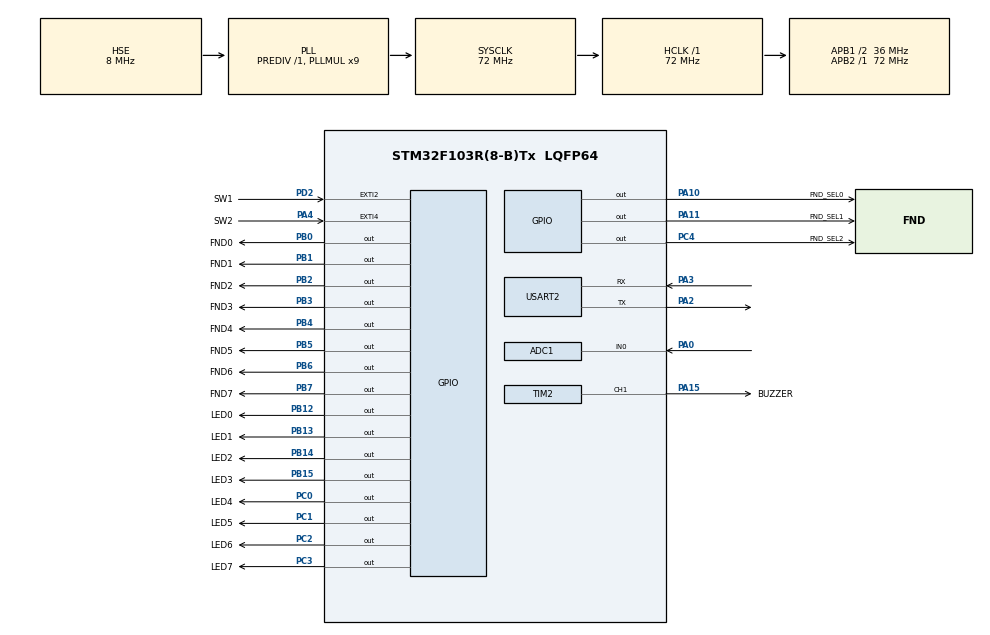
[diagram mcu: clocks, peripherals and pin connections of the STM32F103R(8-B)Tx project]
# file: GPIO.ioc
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ADC1.Channel-0\#ChannelRegularConversion=ADC_CHANNEL_0
ADC1.NbrOfConversionFlag=1
ADC1.Rank-0\#ChannelRegularConversion=1
ADC1.SamplingTime-0\#ChannelRegularConversion=ADC_SAMPLETIME_13CYCLES_5
ADC1.master=1
Mcu.Family=STM32F1
Mcu.Name=STM32F103R(8-B)Tx
Mcu.Package=LQFP64
NVIC.EXTI4_IRQn=true\:0\:0\:false\:false\:true\:true\:true\:true
NVIC.PriorityGroup=NVIC_PRIORITYGROUP_4
NVIC.TIM2_IRQn=true\:0\:0\:false\:false\:true\:true\:true\:true
NVIC.USART2_IRQn=true\:0\:0\:false\:false\:true\:true\:true\:true
PA0-WKUP.Signal=ADCx_IN0
PA10.GPIO_Label=FND_SEL0
PA10.Signal=GPIO_Output
PA11.GPIO_Label=FND_SEL1
PA11.Signal=GPIO_Output
PA15.GPIO_Label=BUZZER
PA15.Signal=S_TIM2_CH1_ETR
PA2.Mode=Asynchronous
PA2.Signal=USART2_TX
PA3.Mode=Asynchronous
PA3.Signal=USART2_RX
PA4.GPIO_Label=SW2
PA4.GPIO_ModeDefaultEXTI=GPIO_MODE_IT_FALLING
PA4.Signal=GPXTI4
PB0.GPIO_Label=FND0
PB0.Signal=GPIO_Output
PB1.GPIO_Label=FND1
PB1.Signal=GPIO_Output
PB12.GPIO_Label=LED0
PB12.Signal=GPIO_Output
PB13.GPIO_Label=LED1
PB13.Signal=GPIO_Output
PB14.GPIO_Label=LED2
PB14.Signal=GPIO_Output
PB15.GPIO_Label=LED3
PB15.Signal=GPIO_Output
PB2.GPIO_Label=FND2
PB2.Signal=GPIO_Output
PB3.GPIO_Label=FND3
PB3.Signal=GPIO_Output
PB4.GPIO_Label=FND4
PB4.Signal=GPIO_Output
PB5.GPIO_Label=FND5
PB5.Signal=GPIO_Output
PB6.GPIO_Label=FND6
PB6.Signal=GPIO_Output
PB7.GPIO_Label=FND7
PB7.Signal=GPIO_Output
PC0.GPIO_Label=LED4
PC0.Signal=GPIO_Output
PC1.GPIO_Label=LED5
PC1.Signal=GPIO_Output
PC14-OSC32_IN.Mode=LSE-External-Oscillator
PC14-OSC32_IN.Signal=RCC_OSC32_IN
PC15-OSC32_OUT.Mode=LSE-External-Oscillator
PC15-OSC32_OUT.Signal=RCC_OSC32_OUT
PC2.GPIO_Label=LED6
PC2.Signal=GPIO_Output
PC3.GPIO_Label=LED7
PC3.Signal=GPIO_Output
PC4.GPIO_Label=FND_SEL2
PC4.Signal=GPIO_Output
PD0-OSC_IN.Mode=HSE-External-Clock-Source
PD0-OSC_IN.Signal=RCC_OSC_IN
PD1-OSC_OUT.Mode=HSE-External-Clock-Source
PD1-OSC_OUT.Signal=RCC_OSC_OUT
PD2.GPIO_Label=SW1
PD2.Signal=GPXTI2
ProjectManager.HeapSize=0x200
ProjectManager.StackSize=0x400
ProjectManager.TargetToolchain=STM32CubeIDE
RCC.ADCPresc=RCC_ADCPCLK2_DIV6
RCC.AHBFreq_Value=72000000
RCC.APB1CLKDivider=RCC_HCLK_DIV2
RCC.APB1Freq_Value=36000000
RCC.APB1TimFreq_Value=72000000
RCC.APB2Freq_Value=72000000
RCC.APB2TimFreq_Value=72000000
RCC.HCLKFreq_Value=72000000
RCC.PLLMUL=RCC_PLL_MUL9
RCC.PLLSourceVirtual=RCC_PLLSOURCE_HSE
RCC.SYSCLKFreq_VALUE=72000000
RCC.SYSCLKSource=RCC_SYSCLKSOURCE_PLLCLK
RCC.USBFreq_Value=72000000
SH.ADCx_IN0.0=ADC1_IN0,IN0
SH.S_TIM2_CH1_ETR.0=TIM2_CH1,PWM Generation1 CH1
TIM2.AutoReloadPreload=TIM_AUTORELOAD_PRELOAD_ENABLE
TIM2.Channel-PWM\ Generation1\ CH1=TIM_CHANNEL_1
TIM2.Period=999
TIM2.Prescaler=71
TIM2.Pulse-PWM\ Generation1\ CH1=500
USART2.VirtualMode=VM_ASYNC
VP_TIM2_VS_ClockSourceINT.Mode=Internal
board=custom

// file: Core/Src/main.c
/* USER CODE BEGIN Header */
/**
 ******************************************************************************
 * @file           : main.c
 * @brief          : Main program body
 ******************************************************************************
 * @attention
 *
 * Copyright (c) 2023 STMicroelectronics.
 * All rights reserved.
 *
 * This software is licensed under terms that can be found in the LICENSE file
 * in the root directory of this software component.
 * If no LICENSE file comes with this software, it is provided AS-IS.
 *
 ******************************************************************************
 */
/* USER CODE END Header */
#include "main.h"

/* USER CODE BEGIN PD */
//#define LED_OFF 0
//#define LED_ON 	1

#define FLAG_TRUE 	0xA5
#define FLAG_FALSE 	0x00
//#define CDS_POINT 	2000

#define FND_SEL3_GPIO_Port 	LED7_GPIO_Port
#define FND_SEL3_Pin		LED7_Pin
/* USER CODE END PD */

ADC_HandleTypeDef hadc1;

TIM_HandleTypeDef htim2;

UART_HandleTypeDef huart2;

/* USER CODE BEGIN PV */
//int led_state = LED_OFF;
//uint8_t TxBuffer[1];
//uint8_t RxBuffer[1];
//uint8_t TxBuffer[] = "Hello world\n";
uint8_t Flag_CNT;
//uint8_t Flag_10ms;
uint32_t count;

uint8_t num[10] = {0x3F, 0x06, 0x5B, 0x4F, 0x66, 0x6D, 0x7D, 0x27, 0x7F, 0x6F};

uint32_t curTick, preTick;
/* USER CODE END PV */

void SystemClock_Config(void);
static void MX_GPIO_Init(void);
static void MX_USART2_UART_Init(void);
static void MX_TIM2_Init(void);
static void MX_ADC1_Init(void);
/* USER CODE BEGIN PFP */
void LCD_Display(int index, int number);
//void LCD_Clear (void);
/* USER CODE END PFP */

int main(void)
{

  /* MCU Configuration--------------------------------------------------------*/

  /* Reset of all peripherals, Initializes the Flash interface and the Systick. */
  HAL_Init();

  /* Configure the system clock */
  SystemClock_Config();

  /* Initialize all configured peripherals */
  MX_GPIO_Init();
  MX_USART2_UART_Init();
  MX_TIM2_Init();
  MX_ADC1_Init();
  /* USER CODE BEGIN 2 */
//  HAL_UART_Receive_IT(&huart2, RxBuffer, 1);
  HAL_TIM_Base_Start_IT(&htim2);
  HAL_ADCEx_Calibration_Start(&hadc1);
  /* USER CODE END 2 */

  /* Infinite loop */
	while (1) {

		HAL_TIM_PWM_Start(&htim2, TIM_CHANNEL_1);
		while(HAL_GetTick()<preTick +5000);

		HAL_TIM_PWM_Stop(&htim2, TIM_CHANNEL_1);
		while(1);

    /* USER CODE BEGIN 3 */
//		if(Flag_CNT == FLAG_TRUE)
//		{
//			Flag_CNT = FLAG_FALSE;
//			count++;
//
//			switch(count)
//			{
//				case 1:
//					LCD_Display(3, 1);
//					break;
//				case 2:
//					LCD_Display(2, 9);
//					break;
//				case 3:
//					LCD_Display(1, 4);
//					break;
//				case 4:
//					LCD_Display(0, 7);
//					break;
//			}
//
//			if(count == 4)
//			{
////				Flag_10ms = FLAG_TRUE;
//				count = 0;
//			}
//		}

//		if(Flag_10ms == FLAG_TRUE)
//		{
//			Flag_10ms = FLAG_FALSE;
//		}

//		curTick = HAL_GetTick();
//		if(((curTick-preTick)>=1000)&&((curTick-preTick)<2000))
//		{
//			HAL_GPIO_WritePin(LED0_GPIO_Port, LED0_Pin, SET);
//		}
//		else if((curTick-preTick)>=2000)
//		{
//			preTick = curTick;
//			HAL_GPIO_WritePin(LED0_GPIO_Port, LED0_Pin, RESET);
//		}

	}
  /* USER CODE END 3 */
}

void SystemClock_Config(void)
{
  RCC_OscInitTypeDef RCC_OscInitStruct = {0};
  RCC_ClkInitTypeDef RCC_ClkInitStruct = {0};
  RCC_PeriphCLKInitTypeDef PeriphClkInit = {0};

  /** Initializes the RCC Oscillators according to the specified parameters
  * in the RCC_OscInitTypeDef structure.
  */
  RCC_OscInitStruct.OscillatorType = RCC_OSCILLATORTYPE_HSE;
  RCC_OscInitStruct.HSEState = RCC_HSE_BYPASS;
  RCC_OscInitStruct.HSEPredivValue = RCC_HSE_PREDIV_DIV1;
  RCC_OscInitStruct.HSIState = RCC_HSI_ON;
  RCC_OscInitStruct.PLL.PLLState = RCC_PLL_ON;
  RCC_OscInitStruct.PLL.PLLSource = RCC_PLLSOURCE_HSE;
  RCC_OscInitStruct.PLL.PLLMUL = RCC_PLL_MUL9;
  if (HAL_RCC_OscConfig(&RCC_OscInitStruct) != HAL_OK)
  {
    Error_Handler();
  }

  /** Initializes the CPU, AHB and APB buses clocks
  */
  RCC_ClkInitStruct.ClockType = RCC_CLOCKTYPE_HCLK|RCC_CLOCKTYPE_SYSCLK
                              |RCC_CLOCKTYPE_PCLK1|RCC_CLOCKTYPE_PCLK2;
  RCC_ClkInitStruct.SYSCLKSource = RCC_SYSCLKSOURCE_PLLCLK;
  RCC_ClkInitStruct.AHBCLKDivider = RCC_SYSCLK_DIV1;
  RCC_ClkInitStruct.APB1CLKDivider = RCC_HCLK_DIV2;
  RCC_ClkInitStruct.APB2CLKDivider = RCC_HCLK_DIV1;

  if (HAL_RCC_ClockConfig(&RCC_ClkInitStruct, FLASH_LATENCY_2) != HAL_OK)
  {
    Error_Handler();
  }
  PeriphClkInit.PeriphClockSelection = RCC_PERIPHCLK_ADC;
  PeriphClkInit.AdcClockSelection = RCC_ADCPCLK2_DIV6;
  if (HAL_RCCEx_PeriphCLKConfig(&PeriphClkInit) != HAL_OK)
  {
    Error_Handler();
  }
}

static void MX_ADC1_Init(void)
{

  ADC_ChannelConfTypeDef sConfig = {0};

  /** Common config
  */
  hadc1.Instance = ADC1;
  hadc1.Init.ScanConvMode = ADC_SCAN_DISABLE;
  hadc1.Init.ContinuousConvMode = DISABLE;
  hadc1.Init.DiscontinuousConvMode = DISABLE;
  hadc1.Init.ExternalTrigConv = ADC_SOFTWARE_START;
  hadc1.Init.DataAlign = ADC_DATAALIGN_RIGHT;
  hadc1.Init.NbrOfConversion = 1;
  if (HAL_ADC_Init(&hadc1) != HAL_OK)
  {
    Error_Handler();
  }

  /** Configure Regular Channel
  */
  sConfig.Channel = ADC_CHANNEL_0;
  sConfig.Rank = ADC_REGULAR_RANK_1;
  sConfig.SamplingTime = ADC_SAMPLETIME_13CYCLES_5;
  if (HAL_ADC_ConfigChannel(&hadc1, &sConfig) != HAL_OK)
  {
    Error_Handler();
  }

}

static void MX_TIM2_Init(void)
{

  TIM_ClockConfigTypeDef sClockSourceConfig = {0};
  TIM_MasterConfigTypeDef sMasterConfig = {0};
  TIM_OC_InitTypeDef sConfigOC = {0};

  htim2.Instance = TIM2;
  htim2.Init.Prescaler = 71;
  htim2.Init.CounterMode = TIM_COUNTERMODE_UP;
  htim2.Init.Period = 999;
  htim2.Init.ClockDivision = TIM_CLOCKDIVISION_DIV1;
  htim2.Init.AutoReloadPreload = TIM_AUTORELOAD_PRELOAD_ENABLE;
  if (HAL_TIM_Base_Init(&htim2) != HAL_OK)
  {
    Error_Handler();
  }
  sClockSourceConfig.ClockSource = TIM_CLOCKSOURCE_INTERNAL;
  if (HAL_TIM_ConfigClockSource(&htim2, &sClockSourceConfig) != HAL_OK)
  {
    Error_Handler();
  }
  if (HAL_TIM_PWM_Init(&htim2) != HAL_OK)
  {
    Error_Handler();
  }
  sMasterConfig.MasterOutputTrigger = TIM_TRGO_RESET;
  sMasterConfig.MasterSlaveMode = TIM_MASTERSLAVEMODE_DISABLE;
  if (HAL_TIMEx_MasterConfigSynchronization(&htim2, &sMasterConfig) != HAL_OK)
  {
    Error_Handler();
  }
  sConfigOC.OCMode = TIM_OCMODE_PWM1;
  sConfigOC.Pulse = 500;
  sConfigOC.OCPolarity = TIM_OCPOLARITY_HIGH;
  sConfigOC.OCFastMode = TIM_OCFAST_DISABLE;
  if (HAL_TIM_PWM_ConfigChannel(&htim2, &sConfigOC, TIM_CHANNEL_1) != HAL_OK)
  {
    Error_Handler();
  }
  HAL_TIM_MspPostInit(&htim2);

}

static void MX_USART2_UART_Init(void)
{

  huart2.Instance = USART2;
  huart2.Init.BaudRate = 115200;
  huart2.Init.WordLength = UART_WORDLENGTH_8B;
  huart2.Init.StopBits = UART_STOPBITS_1;
  huart2.Init.Parity = UART_PARITY_NONE;
  huart2.Init.Mode = UART_MODE_TX_RX;
  huart2.Init.HwFlowCtl = UART_HWCONTROL_NONE;
  huart2.Init.OverSampling = UART_OVERSAMPLING_16;
  if (HAL_UART_Init(&huart2) != HAL_OK)
  {
    Error_Handler();
  }

}

static void MX_GPIO_Init(void)
{
  GPIO_InitTypeDef GPIO_InitStruct = {0};

  /* GPIO Ports Clock Enable */
  __HAL_RCC_GPIOC_CLK_ENABLE();
  __HAL_RCC_GPIOD_CLK_ENABLE();
  __HAL_RCC_GPIOA_CLK_ENABLE();
  __HAL_RCC_GPIOB_CLK_ENABLE();

  /*Configure GPIO pin Output Level */
  HAL_GPIO_WritePin(GPIOC, LED4_Pin|LED5_Pin|LED6_Pin|LED7_Pin
                          |FND_SEL2_Pin, GPIO_PIN_RESET);

  /*Configure GPIO pin Output Level */
  HAL_GPIO_WritePin(GPIOB, FND0_Pin|FND1_Pin|FND2_Pin|LED0_Pin
                          |LED1_Pin|LED2_Pin|LED3_Pin|FND3_Pin
                          |FND4_Pin|FND5_Pin|FND6_Pin|FND7_Pin, GPIO_PIN_RESET);

  /*Configure GPIO pin Output Level */
  HAL_GPIO_WritePin(GPIOA, FND_SEL0_Pin|FND_SEL1_Pin, GPIO_PIN_RESET);

  /*Configure GPIO pins : LED4_Pin LED5_Pin LED6_Pin LED7_Pin
                           FND_SEL2_Pin */
  GPIO_InitStruct.Pin = LED4_Pin|LED5_Pin|LED6_Pin|LED7_Pin
                          |FND_SEL2_Pin;
  GPIO_InitStruct.Mode = GPIO_MODE_OUTPUT_PP;
  GPIO_InitStruct.Pull = GPIO_NOPULL;
  GPIO_InitStruct.Speed = GPIO_SPEED_FREQ_LOW;
  HAL_GPIO_Init(GPIOC, &GPIO_InitStruct);

  /*Configure GPIO pin : SW2_Pin */
  GPIO_InitStruct.Pin = SW2_Pin;
  GPIO_InitStruct.Mode = GPIO_MODE_IT_FALLING;
  GPIO_InitStruct.Pull = GPIO_NOPULL;
  HAL_GPIO_Init(SW2_GPIO_Port, &GPIO_InitStruct);

  /*Configure GPIO pins : FND0_Pin FND1_Pin FND2_Pin LED0_Pin
                           LED1_Pin LED2_Pin LED3_Pin FND3_Pin
                           FND4_Pin FND5_Pin FND6_Pin FND7_Pin */
  GPIO_InitStruct.Pin = FND0_Pin|FND1_Pin|FND2_Pin|LED0_Pin
                          |LED1_Pin|LED2_Pin|LED3_Pin|FND3_Pin
                          |FND4_Pin|FND5_Pin|FND6_Pin|FND7_Pin;
  GPIO_InitStruct.Mode = GPIO_MODE_OUTPUT_PP;
  GPIO_InitStruct.Pull = GPIO_NOPULL;
  GPIO_InitStruct.Speed = GPIO_SPEED_FREQ_LOW;
  HAL_GPIO_Init(GPIOB, &GPIO_InitStruct);

  /*Configure GPIO pins : FND_SEL0_Pin FND_SEL1_Pin */
  GPIO_InitStruct.Pin = FND_SEL0_Pin|FND_SEL1_Pin;
  GPIO_InitStruct.Mode = GPIO_MODE_OUTPUT_PP;
  GPIO_InitStruct.Pull = GPIO_NOPULL;
  GPIO_InitStruct.Speed = GPIO_SPEED_FREQ_LOW;
  HAL_GPIO_Init(GPIOA, &GPIO_InitStruct);

  /*Configure GPIO pin : SW1_Pin */
  GPIO_InitStruct.Pin = SW1_Pin;
  GPIO_InitStruct.Mode = GPIO_MODE_IT_RISING;
  GPIO_InitStruct.Pull = GPIO_NOPULL;
  HAL_GPIO_Init(SW1_GPIO_Port, &GPIO_InitStruct);

  /* EXTI interrupt init*/
  HAL_NVIC_SetPriority(EXTI4_IRQn, 0, 0);
  HAL_NVIC_EnableIRQ(EXTI4_IRQn);

}

/* USER CODE BEGIN 4 */
//void HAL_GPIO_EXTI_Callback(uint16_t GPIO_Pin) {
//	if (GPIO_Pin == GPIO_PIN_2) {
//		if (led_state == LED_ON) {
//			led_state = LED_OFF;
//		} else {
//			led_state = LED_ON;
//		}
//	}
//}
//
//void HAL_UART_RxCpltCallback(UART_HandleTypeDef *huart)
//{
//	if (RxBuffer[0] >= 'A' && RxBuffer[0] <= 'Z')
//	{
//		TxBuffer[0] = RxBuffer[0] + 'a' - 'A';
//		HAL_UART_Transmit(&huart2, TxBuffer, sizeof(TxBuffer), 1);
//	}
//	else if (RxBuffer[0] >= 'a' && RxBuffer[0] <= 'z')
//	{
//		TxBuffer[0] = RxBuffer[0] + 'A' - 'a';
//		HAL_UART_Transmit(&huart2, TxBuffer, sizeof(TxBuffer), 1);
//	}
//	HAL_UART_Receive_IT(&huart2, RxBuffer, 1);
//}

void HAL_TIM_PeriodElapsedCallback(TIM_HandleTypeDef *htim)
{
	Flag_CNT=FLAG_TRUE;
}

void LCD_Display(int index, int number)
{
	int i;
	uint8_t digit=num[number];

	switch(index)
	{
		case 0:
			HAL_GPIO_WritePin(FND_SEL0_GPIO_Port, FND_SEL0_Pin, SET);
			HAL_GPIO_WritePin(FND_SEL1_GPIO_Port, FND_SEL1_Pin, RESET);
			HAL_GPIO_WritePin(FND_SEL2_GPIO_Port, FND_SEL2_Pin, RESET);
			HAL_GPIO_WritePin(FND_SEL3_GPIO_Port, FND_SEL3_Pin, RESET);
			break;
		case 1:
			HAL_GPIO_WritePin(FND_SEL1_GPIO_Port, FND_SEL1_Pin, SET);
			HAL_GPIO_WritePin(FND_SEL0_GPIO_Port, FND_SEL0_Pin, RESET);
			HAL_GPIO_WritePin(FND_SEL2_GPIO_Port, FND_SEL2_Pin, RESET);
			HAL_GPIO_WritePin(FND_SEL3_GPIO_Port, FND_SEL3_Pin, RESET);
			break;
		case 2:
			HAL_GPIO_WritePin(FND_SEL2_GPIO_Port, FND_SEL2_Pin, SET);
			HAL_GPIO_WritePin(FND_SEL0_GPIO_Port, FND_SEL0_Pin, RESET);
			HAL_GPIO_WritePin(FND_SEL1_GPIO_Port, FND_SEL1_Pin, RESET);
			HAL_GPIO_WritePin(FND_SEL3_GPIO_Port, FND_SEL3_Pin, RESET);

			break;
		case 3:
			HAL_GPIO_WritePin(FND_SEL3_GPIO_Port, FND_SEL3_Pin, SET);
			HAL_GPIO_WritePin(FND_SEL0_GPIO_Port, FND_SEL0_Pin, RESET);
			HAL_GPIO_WritePin(FND_SEL1_GPIO_Port, FND_SEL1_Pin, RESET);
			HAL_GPIO_WritePin(FND_SEL2_GPIO_Port, FND_SEL2_Pin, RESET);
			break;
	}

	for(i=0; i<7; i++)
	{
		if(digit & 0x01)
		{
			switch(i)
			{
				case 0:
					HAL_GPIO_WritePin(FND0_GPIO_Port, FND0_Pin, SET);
					break;
				case 1:
					HAL_GPIO_WritePin(FND1_GPIO_Port, FND1_Pin, SET);
					break;
				case 2:
					HAL_GPIO_WritePin(FND2_GPIO_Port, FND2_Pin, SET);
					break;
				case 3:
					HAL_GPIO_WritePin(FND3_GPIO_Port, FND3_Pin, SET);
					break;
				case 4:
					HAL_GPIO_WritePin(FND4_GPIO_Port, FND4_Pin, SET);
					break;
				case 5:
					HAL_GPIO_WritePin(FND5_GPIO_Port, FND5_Pin, SET);
					break;
				case 6:
					HAL_GPIO_WritePin(FND6_GPIO_Port, FND6_Pin, SET);
					break;
			}
		}
		else
		{
			switch(i)
			{
				case 0:
					HAL_GPIO_WritePin(FND0_GPIO_Port, FND0_Pin, RESET);
					break;
				case 1:
					HAL_GPIO_WritePin(FND1_GPIO_Port, FND1_Pin, RESET);
					break;
				case 2:
					HAL_GPIO_WritePin(FND2_GPIO_Port, FND2_Pin, RESET);
					break;
				case 3:
					HAL_GPIO_WritePin(FND3_GPIO_Port, FND3_Pin, RESET);
					break;
				case 4:
					HAL_GPIO_WritePin(FND4_GPIO_Port, FND4_Pin, RESET);
					break;
				case 5:
					HAL_GPIO_WritePin(FND5_GPIO_Port, FND5_Pin, RESET);
					break;
				case 6:
					HAL_GPIO_WritePin(FND6_GPIO_Port, FND6_Pin, RESET);
					break;
			}
		}
		digit = digit >> 1;
	}
}

//void LCD_Clear (void)
//{
////	HAL_GPIO_WritePin(FND0_GPIO_Port, FND0_Pin, RESET);
////	HAL_GPIO_WritePin(FND1_GPIO_Port, FND1_Pin, RESET);
////	HAL_GPIO_WritePin(FND2_GPIO_Port, FND2_Pin, RESET);
////	HAL_GPIO_WritePin(FND3_GPIO_Port, FND3_Pin, RESET);
////	HAL_GPIO_WritePin(FND4_GPIO_Port, FND4_Pin, RESET);
////	HAL_GPIO_WritePin(FND5_GPIO_Port, FND5_Pin, RESET);
////	HAL_GPIO_WritePin(FND6_GPIO_Port, FND6_Pin, RESET);
//
//	HAL_GPIO_WritePin(FND_SEL0_GPIO_Port, FND_SEL0_Pin, RESET);
//	HAL_GPIO_WritePin(FND_SEL1_GPIO_Port, FND_SEL1_Pin, RESET);
//	HAL_GPIO_WritePin(FND_SEL2_GPIO_Port, FND_SEL2_Pin, RESET);
//	HAL_GPIO_WritePin(FND_SEL3_GPIO_Port, FND_SEL3_Pin, RESET);
//}
/* USER CODE END 4 */

void Error_Handler(void)
{
	__disable_irq();
	while (1) {
	}
}
